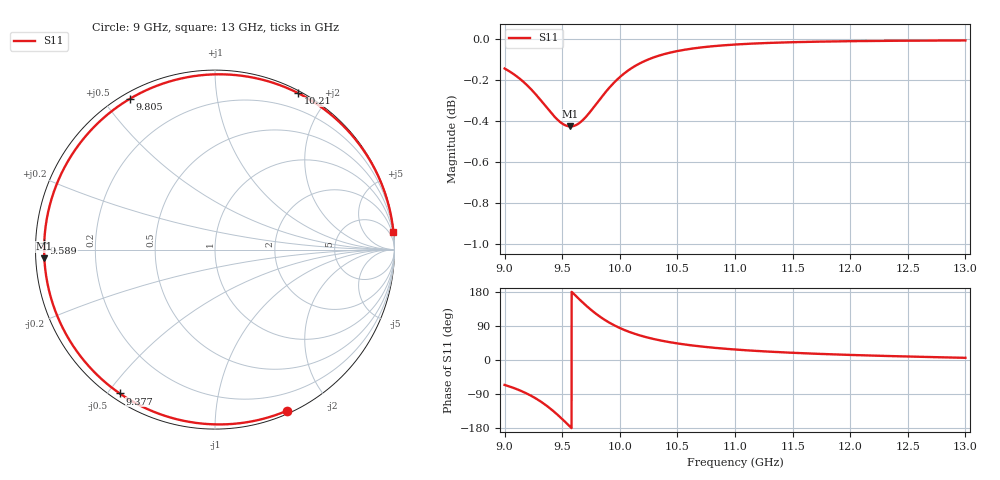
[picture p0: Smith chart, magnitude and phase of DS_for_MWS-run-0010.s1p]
! TOUCHSTONE file generated by CST DESIGN STUDIO
! Date and time: Tue Feb  4 18:26:33 2025
! Project name: C:\Work\MatlabApps\UnitCellOptimizationMatlab\CST\unitcell.cst
! Tree item: Tasks\Sweep1\SPara1\S-Parameters
! Header version: 2024
! Port assignment regex: !\s*Touchstone port\s*([0-9]+)\s*=\s*(CST MWS port|CST DES external port|CST DES block port)\s*(.+)\s* \(\"(.*)\"\)(\s*mode\s*([0-9]+))?.*
! Touchstone port assignment:
! Touchstone port 1 = CST DES external port 1 ("")
# GHz S MA R 50
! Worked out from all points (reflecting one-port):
!   4001 points, 9 GHz to 13 GHz, reference 50 ohm
!   lowest |S11| = -0.4 dB at 9.572 GHz (marker M1), VSWR 40.71, Z = 1.23 - j1.29 ohm
!   phase of S11 starts at -66 deg and turns -288 deg over the sweep
!   S11 on the Smith chart (normalised r, x): 9 GHz: 0.03, -1.55; 9.377 GHz: 0.03, -0.54; 9.589 GHz: 0.02, +0.02; 9.805 GHz: 0.02, +0.59; 10.21 GHz: 0.02, +1.66; 13 GHz: 0, +20
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9  0.9834 -65.8
9.044  0.9818 -70.1
9.112  0.9788 -77.7
9.228  0.9722 -94.1
9.307  0.9666 -108.3
9.377  0.9613 -123.5
9.438  0.9569 -138.7
9.5  0.9536 -155.8
9.537  0.9524 -166.6
9.572  0.9521 -177.0
9.589  0.9521 177.9
9.644  0.9537 161.5
9.705  0.9571 144.2
9.755  0.9608 131.2
9.805  0.9649 119.3
9.848  0.9683 110.1
9.893  0.9717 101.5
10  0.9787 84.4
10.099  0.9835 72.3
10.207  0.9873 62.0
10.342  0.9906 52.3
10.5  0.9931 43.7
10.721  0.9952 35.2
11  0.9967 27.7
11.5  0.998 19.0
12  0.9986 13.4
12.5  0.9988 9.2
13  0.999 5.8
